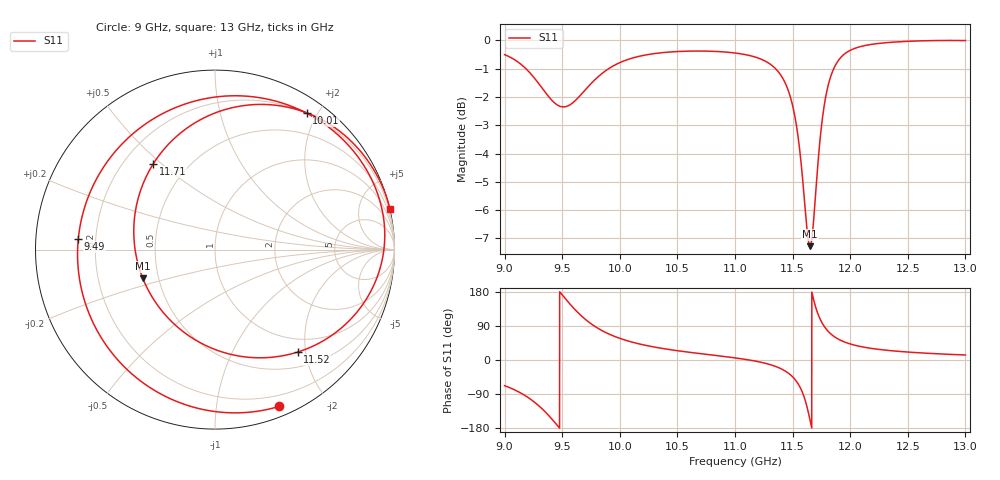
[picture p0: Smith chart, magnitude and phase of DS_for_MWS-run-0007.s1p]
! TOUCHSTONE file generated by CST DESIGN STUDIO
! Date and time: Tue Feb  4 16:42:40 2025
! Project name: C:\Work\MatlabApps\UnitCellOptimizationMatlab\CST\unitcell.cst
! Tree item: Tasks\Sweep1\SPara1\S-Parameters
! Header version: 2024
! Port assignment regex: !\s*Touchstone port\s*([0-9]+)\s*=\s*(CST MWS port|CST DES external port|CST DES block port)\s*(.+)\s* \(\"(.*)\"\)(\s*mode\s*([0-9]+))?.*
! Touchstone port assignment:
! Touchstone port 1 = CST DES external port 1 ("")
# GHz S MA R 50
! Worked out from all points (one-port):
!   4001 points, 9 GHz to 13 GHz, reference 50 ohm
!   lowest |S11| = -7.3 dB at 11.65 GHz (marker M1), VSWR 2.53, Z = 20.4 - j8.06 ohm
!   |S11| at or under -10 dB: nowhere
!   S11 on the Smith chart (normalised r, x): 9 GHz: 0.09, -1.49; 9.49 GHz: 0.13, +0.04; 10.01 GHz: 0.20, +1.86; 11.52 GHz: 0.75, -1.85; 11.71 GHz: 0.32, +0.47; 13 GHz: 0.01, +8.63
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9  0.9439 -67.7
9.154  0.9034 -89.5
9.267  0.8541 -113.1
9.395  0.7902 -150.6
9.49  0.764 175.5
9.5  0.7633 171.8
9.61  0.7818 133.4
9.711  0.8225 104.8
9.829  0.8688 80.3
10  0.9138 57.1
10.01  0.9157 56.1
10.219  0.9423 39.0
10.5  0.956 24.5
11  0.9504 5.6
11.337  0.8975 -15.3
11.43  0.8459 -28.0
11.5  0.7674 -44.4
11.52  0.7337 -51.1
11.592  0.5542 -90.6
11.651  0.4329 -158.2
11.682  0.4793 159.7
11.715  0.589 125.7
11.756  0.7208 97.9
11.803  0.8237 77.6
11.889  0.9166 56.4
12  0.9606 42.4
12.5  0.9965 21.0
13  0.9997 13.2
